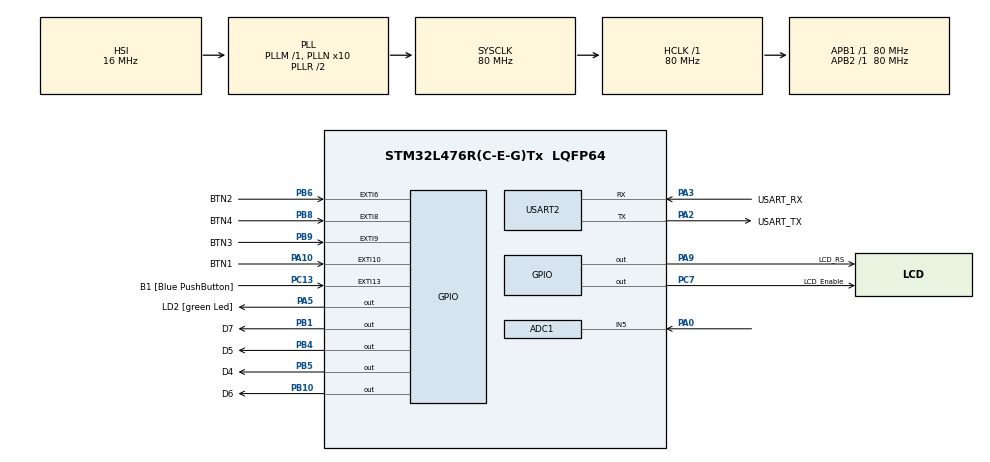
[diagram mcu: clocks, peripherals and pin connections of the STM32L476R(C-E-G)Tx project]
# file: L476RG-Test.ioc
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Mcu.Family=STM32L4
PA2.GPIO_PuPd=GPIO_NOPULL
TIM17.Prescaler=8000
RCC.CortexFreq_Value=80000000
VP_TIM17_VS_ClockSourceINT.Mode=Enable_Timer
PH0-OSC_IN\ (PH0).Signal=RCC_OSC_IN
PA3.GPIO_PuPd=GPIO_NOPULL
PA2.GPIO_Speed=GPIO_SPEED_FREQ_VERY_HIGH
PB6.GPIO_Label=BTN2
PC15-OSC32_OUT\ (PC15).Mode=LSE-External-Oscillator
PC13.GPIO_Label=B1 [Blue PushButton]
PA3.GPIO_Speed=GPIO_SPEED_FREQ_VERY_HIGH
RCC.SYSCLKSource=RCC_SYSCLKSOURCE_PLLCLK
ProjectManager.StackSize=0x400
PB3\ (JTDO-TRACESWO).Signal=SYS_JTDO-SWO
PC14-OSC32_IN\ (PC14).Mode=LSE-External-Oscillator
PA14\ (JTCK-SWCLK).Signal=SYS_JTCK-SWCLK
RCC.HCLKFreq_Value=80000000
RCC.APB2TimFreq_Value=80000000
PB6.Signal=GPXTI6
PC7.Signal=GPIO_Output
RCC.AHBFreq_Value=80000000
RCC.PREFETCH_ENABLE=1
NVIC.EXTI15_10_IRQn=true\:0\:0\:false\:false\:true\:true\:true
ADC1.Channel-0\#ChannelRegularConversion=ADC_CHANNEL_5
RCC.HSE_VALUE=8000000
USART2.VirtualMode-Asynchronous=VM_ASYNC
TIM17.Period=1000
NVIC.TIM1_TRG_COM_TIM17_IRQn=true\:0\:0\:false\:false\:true\:true\:true
PA5.GPIO_PuPd=GPIO_NOPULL
PB1.GPIO_Label=D7
PA10.GPIO_Label=BTN1
PC13.GPIO_PuPd=GPIO_NOPULL
ADC1.SamplingTime-0\#ChannelRegularConversion=ADC_SAMPLETIME_2CYCLES_5
PA0.Signal=ADCx_IN5
PB9.Signal=GPXTI9
Mcu.Package=LQFP64
PB1.Signal=GPIO_Output
PA2.GPIO_Label=USART_TX
PA10.Signal=GPXTI10
PB5.GPIO_Label=D4
RCC.APB1TimFreq_Value=80000000
PA13\ (JTMS-SWDIO).Signal=SYS_JTMS-SWDIO
PA3.Signal=USART2_RX
PA2.GPIO_Mode=GPIO_MODE_AF_PP
RCC.MSI_VALUE=4000000
RCC.PLLSourceVirtual=RCC_PLLSOURCE_HSI
PA14\ (JTCK-SWCLK).Mode=Serial_Wire
ADC1.Rank-0\#ChannelRegularConversion=1
PB9.GPIO_Label=BTN3
ADC1.OffsetNumber-0\#ChannelRegularConversion=ADC_OFFSET_NONE
PC13.Signal=GPXTI13
PA9.GPIO_Label=LCD_RS
PC15-OSC32_OUT\ (PC15).Signal=RCC_OSC32_OUT
PA14\ (JTCK-SWCLK).GPIO_Label=TCK
PB3\ (JTDO-TRACESWO).GPIO_Label=SWO
PH1-OSC_OUT\ (PH1).Signal=RCC_OSC_OUT
PA3.Mode=Asynchronous
PB8.GPIO_Label=BTN4
ProjectManager.TargetToolchain=STM32CubeIDE
PB10.GPIO_Label=D6
PA3.GPIO_Mode=GPIO_MODE_AF_PP
PA9.Signal=GPIO_Output
RCC.USBFreq_Value=64000000
PB10.Signal=GPIO_Output
PA5.Signal=GPIO_Output
board=NUCLEO-L476RG
RCC.VCOOutputFreq_Value=160000000
RCC.APB2Freq_Value=80000000
PA5.GPIO_ModeDefaultOutputPP=GPIO_MODE_OUTPUT_PP
PA13\ (JTMS-SWDIO).GPIO_Label=TMS
RCC.ADCFreq_Value=64000000
Mcu.Name=STM32L476R(C-E-G)Tx
PA2.Signal=USART2_TX
PC7.GPIO_Label=LCD_Enable
PA13\ (JTMS-SWDIO).Mode=Serial_Wire
RCC.SYSCLKFreq_VALUE=80000000
PB5.Signal=GPIO_Output
ADC1.master=1
PA5.GPIO_Label=LD2 [green Led]
PC13.GPIO_ModeDefaultEXTI=GPIO_MODE_IT_FALLING
PC14-OSC32_IN\ (PC14).Signal=RCC_OSC32_IN
NVIC.EXTI9_5_IRQn=true\:0\:0\:false\:false\:true\:true\:true
ProjectManager.HeapSize=0x200
RCC.HSI_VALUE=16000000
SH.ADCx_IN5.0=ADC1_IN5,IN5-Single-Ended
PA5.GPIO_Speed=GPIO_SPEED_FREQ_LOW
NVIC.PriorityGroup=NVIC_PRIORITYGROUP_4
ADC1.NbrOfConversionFlag=1
RCC.PLLN=10
PA2.Mode=Asynchronous
PB8.Signal=GPXTI8
PB4\ (NJTRST).GPIO_Label=D5
RCC.APB1Freq_Value=80000000
PA3.GPIO_Label=USART_RX
PB4\ (NJTRST).Signal=GPIO_Output

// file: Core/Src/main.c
/* USER CODE BEGIN Header */
/**
  ******************************************************************************
  * @file           : main.c
  * @brief          : Main program body
  ******************************************************************************
  * @attention
  *
  * <h2><center>&copy; Copyright (c) 2021 STMicroelectronics.
  * All rights reserved.</center></h2>
  *
  * This software component is licensed by ST under BSD 3-Clause license,
  * the "License"; You may not use this file except in compliance with the
  * License. You may obtain a copy of the License at:
  *                        opensource.org/licenses/BSD-3-Clause
  *
  ******************************************************************************
  */
/* USER CODE END Header */
#include "main.h"

/* USER CODE BEGIN Includes */
#include <stdio.h>
#include <string.h>
#include "HD44780/lcd.h"
#include "HD44780/displays.h"

/* USER CODE END Includes */

ADC_HandleTypeDef hadc1;

TIM_HandleTypeDef htim17;

UART_HandleTypeDef huart2;

void SystemClock_Config(void);
static void MX_GPIO_Init(void);
static void MX_USART2_UART_Init(void);
static void MX_ADC1_Init(void);
static void MX_TIM17_Init(void);

/* USER CODE BEGIN 0 */

// Flag for Button Presses
uint8_t btn_flag = 0;

// Counter INit
uint16_t counter = 0;
uint16_t increment = 1;

// Time Elapsed for buttons
uint32_t last_btn_press;

/* USER CODE END 0 */

int main(void)
{

  /* MCU Configuration--------------------------------------------------------*/

  /* Reset of all peripherals, Initializes the Flash interface and the Systick. */
  HAL_Init();

  /* Configure the system clock */
  SystemClock_Config();

  /* Initialize all configured peripherals */
  MX_GPIO_Init();
  MX_USART2_UART_Init();
  MX_ADC1_Init();
  MX_TIM17_Init();
  /* USER CODE BEGIN 2 */

  // Start Timer
  HAL_TIM_Base_Start_IT(&htim17);

  HAL_GPIO_WritePin(LD2_GPIO_Port, LD2_Pin, 0);

  // Init LCD
  Lcd_PortType ports[] = {
		  GPIOB, GPIOB, GPIOB, GPIOB
  };

  Lcd_PinType pins[] = {
		  D4_Pin, D5_Pin, D6_Pin, D7_Pin
  };

  Lcd_HandleTypeDef lcd = Lcd_create(
		  ports, pins,
		  GPIOA, LCD_RS_Pin,
		  LCD_Enable_GPIO_Port, LCD_Enable_Pin,
		  LCD_4_BIT_MODE,
		  false,
		  false
		  );

  // Init Display Module
  DisplayProcTypeDef display = Display_init(&btn_flag, &lcd);

  // Initializing Counter for Display
//  uint16_t last_counter = 0;

  /* USER CODE END 2 */

  /* Infinite loop */
  /* USER CODE BEGIN WHILE */
  while (1)
  {
//	  if (btn_flag != 0) {
////		  Lcd_cursor(&lcd, 1, 0);
////		  sprintf(msg,"Button %u",btn_flag);
////		  Lcd_string(&lcd, msg);
////
////		  HAL_GPIO_TogglePin(LD2_GPIO_Port, LD2_Pin);
//
//		  if (btn_flag == 1) {
////			  Lcd_toggle_blink(&lcd);
//		  }
//		  else if (btn_flag == 2) {
////			  Lcd_toggle_cursor(&lcd);
//		  }
//
//		  btn_flag = 0;
//	  }

	  Display_update(&display);

//	  if ( counter != last_counter) {
//		  Lcd_u16_right_aligned(&lcd, counter, 1, 15);
//
//		  last_counter = counter;
//	  }

    /* USER CODE END WHILE */

  }
}

void SystemClock_Config(void)
{
  RCC_OscInitTypeDef RCC_OscInitStruct = {0};
  RCC_ClkInitTypeDef RCC_ClkInitStruct = {0};
  RCC_PeriphCLKInitTypeDef PeriphClkInit = {0};

  /** Initializes the RCC Oscillators according to the specified parameters
  * in the RCC_OscInitTypeDef structure.
  */
  RCC_OscInitStruct.OscillatorType = RCC_OSCILLATORTYPE_HSI;
  RCC_OscInitStruct.HSIState = RCC_HSI_ON;
  RCC_OscInitStruct.HSICalibrationValue = RCC_HSICALIBRATION_DEFAULT;
  RCC_OscInitStruct.PLL.PLLState = RCC_PLL_ON;
  RCC_OscInitStruct.PLL.PLLSource = RCC_PLLSOURCE_HSI;
  RCC_OscInitStruct.PLL.PLLM = 1;
  RCC_OscInitStruct.PLL.PLLN = 10;
  RCC_OscInitStruct.PLL.PLLP = RCC_PLLP_DIV7;
  RCC_OscInitStruct.PLL.PLLQ = RCC_PLLQ_DIV2;
  RCC_OscInitStruct.PLL.PLLR = RCC_PLLR_DIV2;
  if (HAL_RCC_OscConfig(&RCC_OscInitStruct) != HAL_OK)
  {
    Error_Handler();
  }
  /** Initializes the CPU, AHB and APB buses clocks
  */
  RCC_ClkInitStruct.ClockType = RCC_CLOCKTYPE_HCLK|RCC_CLOCKTYPE_SYSCLK
                              |RCC_CLOCKTYPE_PCLK1|RCC_CLOCKTYPE_PCLK2;
  RCC_ClkInitStruct.SYSCLKSource = RCC_SYSCLKSOURCE_PLLCLK;
  RCC_ClkInitStruct.AHBCLKDivider = RCC_SYSCLK_DIV1;
  RCC_ClkInitStruct.APB1CLKDivider = RCC_HCLK_DIV1;
  RCC_ClkInitStruct.APB2CLKDivider = RCC_HCLK_DIV1;

  if (HAL_RCC_ClockConfig(&RCC_ClkInitStruct, FLASH_LATENCY_4) != HAL_OK)
  {
    Error_Handler();
  }
  PeriphClkInit.PeriphClockSelection = RCC_PERIPHCLK_USART2|RCC_PERIPHCLK_ADC;
  PeriphClkInit.Usart2ClockSelection = RCC_USART2CLKSOURCE_PCLK1;
  PeriphClkInit.AdcClockSelection = RCC_ADCCLKSOURCE_PLLSAI1;
  PeriphClkInit.PLLSAI1.PLLSAI1Source = RCC_PLLSOURCE_HSI;
  PeriphClkInit.PLLSAI1.PLLSAI1M = 1;
  PeriphClkInit.PLLSAI1.PLLSAI1N = 8;
  PeriphClkInit.PLLSAI1.PLLSAI1P = RCC_PLLP_DIV7;
  PeriphClkInit.PLLSAI1.PLLSAI1Q = RCC_PLLQ_DIV2;
  PeriphClkInit.PLLSAI1.PLLSAI1R = RCC_PLLR_DIV2;
  PeriphClkInit.PLLSAI1.PLLSAI1ClockOut = RCC_PLLSAI1_ADC1CLK;
  if (HAL_RCCEx_PeriphCLKConfig(&PeriphClkInit) != HAL_OK)
  {
    Error_Handler();
  }
  /** Configure the main internal regulator output voltage
  */
  if (HAL_PWREx_ControlVoltageScaling(PWR_REGULATOR_VOLTAGE_SCALE1) != HAL_OK)
  {
    Error_Handler();
  }
}

static void MX_ADC1_Init(void)
{

  ADC_MultiModeTypeDef multimode = {0};
  ADC_ChannelConfTypeDef sConfig = {0};

  /** Common config
  */
  hadc1.Instance = ADC1;
  hadc1.Init.ClockPrescaler = ADC_CLOCK_ASYNC_DIV1;
  hadc1.Init.Resolution = ADC_RESOLUTION_12B;
  hadc1.Init.DataAlign = ADC_DATAALIGN_RIGHT;
  hadc1.Init.ScanConvMode = ADC_SCAN_DISABLE;
  hadc1.Init.EOCSelection = ADC_EOC_SINGLE_CONV;
  hadc1.Init.LowPowerAutoWait = DISABLE;
  hadc1.Init.ContinuousConvMode = DISABLE;
  hadc1.Init.NbrOfConversion = 1;
  hadc1.Init.DiscontinuousConvMode = DISABLE;
  hadc1.Init.ExternalTrigConv = ADC_SOFTWARE_START;
  hadc1.Init.ExternalTrigConvEdge = ADC_EXTERNALTRIGCONVEDGE_NONE;
  hadc1.Init.DMAContinuousRequests = DISABLE;
  hadc1.Init.Overrun = ADC_OVR_DATA_PRESERVED;
  hadc1.Init.OversamplingMode = DISABLE;
  if (HAL_ADC_Init(&hadc1) != HAL_OK)
  {
    Error_Handler();
  }
  /** Configure the ADC multi-mode
  */
  multimode.Mode = ADC_MODE_INDEPENDENT;
  if (HAL_ADCEx_MultiModeConfigChannel(&hadc1, &multimode) != HAL_OK)
  {
    Error_Handler();
  }
  /** Configure Regular Channel
  */
  sConfig.Channel = ADC_CHANNEL_5;
  sConfig.Rank = ADC_REGULAR_RANK_1;
  sConfig.SamplingTime = ADC_SAMPLETIME_2CYCLES_5;
  sConfig.SingleDiff = ADC_SINGLE_ENDED;
  sConfig.OffsetNumber = ADC_OFFSET_NONE;
  sConfig.Offset = 0;
  if (HAL_ADC_ConfigChannel(&hadc1, &sConfig) != HAL_OK)
  {
    Error_Handler();
  }

}

static void MX_TIM17_Init(void)
{

  htim17.Instance = TIM17;
  htim17.Init.Prescaler = 8000;
  htim17.Init.CounterMode = TIM_COUNTERMODE_UP;
  htim17.Init.Period = 1000;
  htim17.Init.ClockDivision = TIM_CLOCKDIVISION_DIV1;
  htim17.Init.RepetitionCounter = 0;
  htim17.Init.AutoReloadPreload = TIM_AUTORELOAD_PRELOAD_DISABLE;
  if (HAL_TIM_Base_Init(&htim17) != HAL_OK)
  {
    Error_Handler();
  }

}

static void MX_USART2_UART_Init(void)
{

  huart2.Instance = USART2;
  huart2.Init.BaudRate = 115200;
  huart2.Init.WordLength = UART_WORDLENGTH_8B;
  huart2.Init.StopBits = UART_STOPBITS_1;
  huart2.Init.Parity = UART_PARITY_NONE;
  huart2.Init.Mode = UART_MODE_TX_RX;
  huart2.Init.HwFlowCtl = UART_HWCONTROL_NONE;
  huart2.Init.OverSampling = UART_OVERSAMPLING_16;
  huart2.Init.OneBitSampling = UART_ONE_BIT_SAMPLE_DISABLE;
  huart2.AdvancedInit.AdvFeatureInit = UART_ADVFEATURE_NO_INIT;
  if (HAL_UART_Init(&huart2) != HAL_OK)
  {
    Error_Handler();
  }

}

static void MX_GPIO_Init(void)
{
  GPIO_InitTypeDef GPIO_InitStruct = {0};

  /* GPIO Ports Clock Enable */
  __HAL_RCC_GPIOC_CLK_ENABLE();
  __HAL_RCC_GPIOH_CLK_ENABLE();
  __HAL_RCC_GPIOA_CLK_ENABLE();
  __HAL_RCC_GPIOB_CLK_ENABLE();

  /*Configure GPIO pin Output Level */
  HAL_GPIO_WritePin(GPIOA, LD2_Pin|LCD_RS_Pin, GPIO_PIN_RESET);

  /*Configure GPIO pin Output Level */
  HAL_GPIO_WritePin(GPIOB, D7_Pin|D6_Pin|D5_Pin|D4_Pin, GPIO_PIN_RESET);

  /*Configure GPIO pin Output Level */
  HAL_GPIO_WritePin(LCD_Enable_GPIO_Port, LCD_Enable_Pin, GPIO_PIN_RESET);

  /*Configure GPIO pin : B1_Pin */
  GPIO_InitStruct.Pin = B1_Pin;
  GPIO_InitStruct.Mode = GPIO_MODE_IT_FALLING;
  GPIO_InitStruct.Pull = GPIO_NOPULL;
  HAL_GPIO_Init(B1_GPIO_Port, &GPIO_InitStruct);

  /*Configure GPIO pins : LD2_Pin LCD_RS_Pin */
  GPIO_InitStruct.Pin = LD2_Pin|LCD_RS_Pin;
  GPIO_InitStruct.Mode = GPIO_MODE_OUTPUT_PP;
  GPIO_InitStruct.Pull = GPIO_NOPULL;
  GPIO_InitStruct.Speed = GPIO_SPEED_FREQ_LOW;
  HAL_GPIO_Init(GPIOA, &GPIO_InitStruct);

  /*Configure GPIO pins : D7_Pin D6_Pin D5_Pin D4_Pin */
  GPIO_InitStruct.Pin = D7_Pin|D6_Pin|D5_Pin|D4_Pin;
  GPIO_InitStruct.Mode = GPIO_MODE_OUTPUT_PP;
  GPIO_InitStruct.Pull = GPIO_NOPULL;
  GPIO_InitStruct.Speed = GPIO_SPEED_FREQ_LOW;
  HAL_GPIO_Init(GPIOB, &GPIO_InitStruct);

  /*Configure GPIO pin : LCD_Enable_Pin */
  GPIO_InitStruct.Pin = LCD_Enable_Pin;
  GPIO_InitStruct.Mode = GPIO_MODE_OUTPUT_PP;
  GPIO_InitStruct.Pull = GPIO_NOPULL;
  GPIO_InitStruct.Speed = GPIO_SPEED_FREQ_LOW;
  HAL_GPIO_Init(LCD_Enable_GPIO_Port, &GPIO_InitStruct);

  /*Configure GPIO pin : BTN1_Pin */
  GPIO_InitStruct.Pin = BTN1_Pin;
  GPIO_InitStruct.Mode = GPIO_MODE_IT_RISING;
  GPIO_InitStruct.Pull = GPIO_NOPULL;
  HAL_GPIO_Init(BTN1_GPIO_Port, &GPIO_InitStruct);

  /*Configure GPIO pins : BTN2_Pin BTN4_Pin BTN3_Pin */
  GPIO_InitStruct.Pin = BTN2_Pin|BTN4_Pin|BTN3_Pin;
  GPIO_InitStruct.Mode = GPIO_MODE_IT_RISING;
  GPIO_InitStruct.Pull = GPIO_NOPULL;
  HAL_GPIO_Init(GPIOB, &GPIO_InitStruct);

  /* EXTI interrupt init*/
  HAL_NVIC_SetPriority(EXTI9_5_IRQn, 0, 0);
  HAL_NVIC_EnableIRQ(EXTI9_5_IRQn);

  HAL_NVIC_SetPriority(EXTI15_10_IRQn, 0, 0);
  HAL_NVIC_EnableIRQ(EXTI15_10_IRQn);

}

/* USER CODE BEGIN 4 */

void HAL_GPIO_EXTI_Callback(uint16_t GPIO_Pin) {
	if ((HAL_GetTick() - last_btn_press) > 100){
		if (GPIO_Pin == BTN1_Pin) {
			HAL_GPIO_TogglePin(LD2_GPIO_Port, LD2_Pin);
			btn_flag = 1;
		}
		if (GPIO_Pin == BTN2_Pin) {
			HAL_GPIO_TogglePin(LD2_GPIO_Port, LD2_Pin);
			btn_flag = 2;
		}
		if (GPIO_Pin == BTN3_Pin) {
			HAL_GPIO_TogglePin(LD2_GPIO_Port, LD2_Pin);
			btn_flag = 3;
		}
		if (GPIO_Pin == BTN4_Pin) {
			HAL_GPIO_TogglePin(LD2_GPIO_Port, LD2_Pin);
			btn_flag = 4;
		}
		last_btn_press = HAL_GetTick();
	}
}

void HAL_TIM_PeriodElapsedCallback(TIM_HandleTypeDef *htim){
	if (htim == &htim17) {
//		HAL_GPIO_TogglePin(LD2_GPIO_Port, LD2_Pin);
		counter += increment;
	}
}

/* USER CODE END 4 */

void Error_Handler(void)
{
  __disable_irq();
  while (1)
  {
  }
}

/************************ (C) COPYRIGHT STMicroelectronics *****END OF FILE****/
